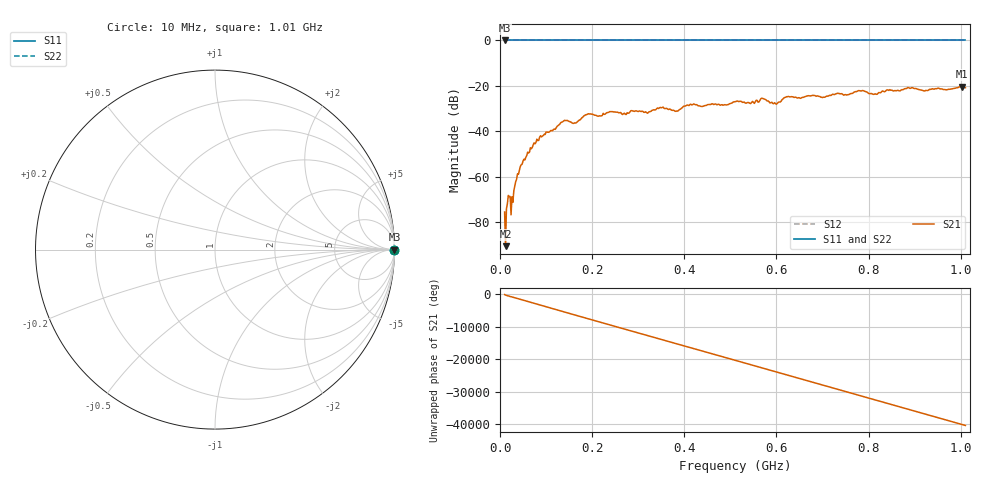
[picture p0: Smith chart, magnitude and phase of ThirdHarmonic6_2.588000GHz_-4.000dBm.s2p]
! 8/17/2025 5:31:20 AM
! C:\ANRITSUVNA\TEMP\TEMP.S2P
! CHANNEL.1
! TR.MEASUREMENT
! RAW.DATA
! RF.CORRECTION.OFF
! AVERAGING.OFF
! IF.BANDWIDTH: 5KHZ
! SWEEPTYPE:  FREQ.SWEEP(Linear)
! Reference Plane Port Info
! PORT:  PORT1  PORT2
! DISTANCE:  0  m  0  m
! TIME:  0  s  0  s
! PHASE.OFFSET:  0  deg.  0  deg.
! LOSS:  0  dB  0  dB
! REF.LOSS:  0  dB  0  dB
! REF.FREQ:  0  Hz  0  Hz
! Power Info
! POWER:  -20  dBm  -20  dBm
! EFF.POWER:  -20  dBm  -20  dBm
! SOURCE.ATTEN:  0  dB  0  dB
! TEST.ATTEN:  0  dB  0  dB
# GHZ S RI R 50.0
! FREQ.GHZ  S11RE  S11IM  S21RE  S21IM  S12RE  S12IM  S22RE  S22IM
!; PortSelection: Port_12
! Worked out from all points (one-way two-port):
!   501 points, 10 MHz to 1.01 GHz, reference 50 ohm
!   highest |S21| = -20.31 dB at 1.002 GHz (marker M1); lowest = -90.7 dB at 12 MHz (marker M2)
!   lowest |S11| = 0.0 dB at 10 MHz (marker M3)
!   |S11| at or under -10 dB: nowhere
!   |S22| runs from 0.0 to 0.0 dB; largest |S21 - S12| = 1.1
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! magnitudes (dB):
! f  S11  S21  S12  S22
! 10 MHz  0.0  -75.6  0.0  0.0
! 12 MHz  0.0  -90.7  0.0  0.0
! 18 MHz  0.0  -68.3  0.0  0.0
! 28 MHz  0.0  -71.3  0.0  0.0
! 34 MHz  0.0  -62.3  0.0  0.0
! 48 MHz  0.0  -54.6  0.0  0.0
! 76 MHz  0.0  -45.6  0.0  0.0
! 136 MHz  0.0  -35.8  0.0  0.0
! 162 MHz  0.0  -36.3  0.0  0.0
! 178 MHz  0.0  -34.0  0.0  0.0
! 344 MHz  0.0  -30.0  0.0  0.0
! 382 MHz  0.0  -31.2  0.0  0.0
! 416 MHz  0.0  -28.4  0.0  0.0
! 510 MHz  0.0  -27.0  0.0  0.0
! 570 MHz  0.0  -25.5  0.0  0.0
! 598 MHz  0.0  -27.9  0.0  0.0
! 622 MHz  0.0  -24.8  0.0  0.0
! 678 MHz  0.0  -24.2  0.0  0.0
! 814 MHz  0.0  -23.5  0.0  0.0
! 844 MHz  0.0  -22.0  0.0  0.0
! 1.002 GHz  0.0  -20.3  0.0  0.0
! 1.01 GHz  0.0  -20.8  0.0  0.0
